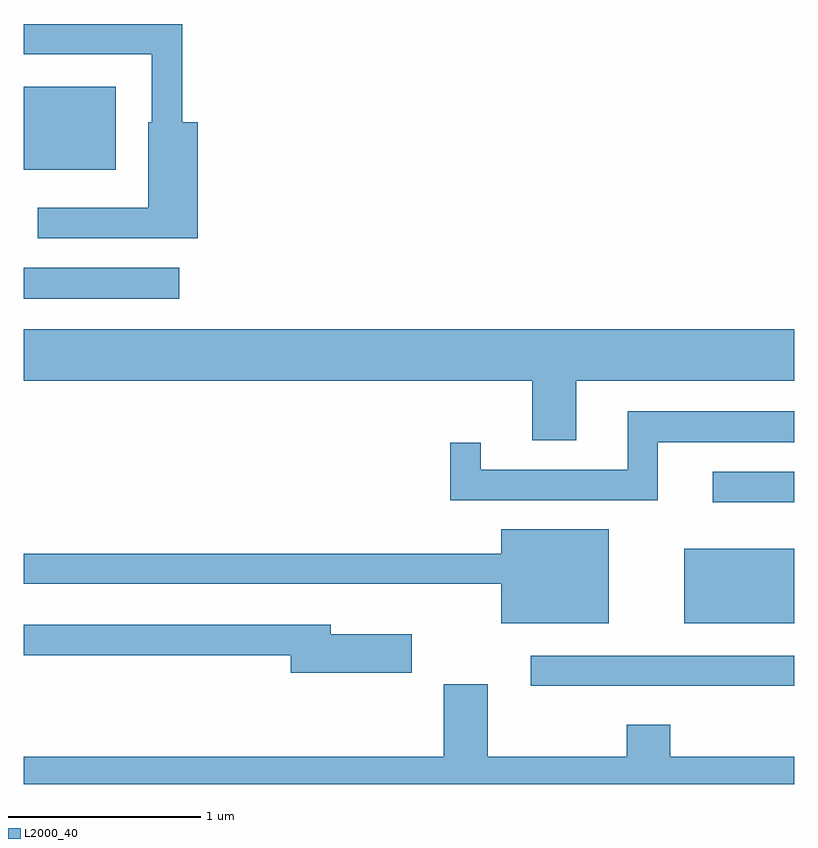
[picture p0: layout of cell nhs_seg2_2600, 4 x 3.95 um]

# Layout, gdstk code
import gdstk
lib = gdstk.Library(unit=1e-6, precision=1e-09)
def R(c, l, rs):  # rectangles x0, y0, x1, y1
    for r in rs: c.add(gdstk.rectangle(r[:2], r[2:], *l))
def P(c, l, *ps):  # polygons
    for p in ps: c.add(gdstk.Polygon(p, *l))
L2000_40 = (2000, 40)

nhs_seg2_2600 = lib.new_cell('nhs_seg2_2600')
R(nhs_seg2_2600, L2000_40, [(264.243,1022.311,265.611,1022.469), (265.041,1022.636,265.611,1023.024), (265.188,1023.266,265.611,1023.424), (261.611,1024.321,262.418,1024.484), (261.611,1024.991,262.089,1025.424)])
P(nhs_seg2_2600, L2000_40, [(262.514,1025.239),(262.434,1025.239),(262.434,1025.749),(261.611,1025.749),(261.611,1025.591),(262.276,1025.591),(262.276,1025.239),(262.256,1025.239),(262.256,1024.794),(261.683,1024.794),(261.683,1024.636),(262.514,1024.636)],
  [(264.479,1023.896),(265.611,1023.896),(265.611,1024.164),(261.611,1024.164),(261.611,1023.896),(264.251,1023.896),(264.251,1023.586),(264.479,1023.586)],
  [(264.904,1023.576),(265.611,1023.576),(265.611,1023.739),(264.746,1023.739),(264.746,1023.434),(263.984,1023.434),(263.984,1023.573),(263.826,1023.573),(263.826,1023.276),(264.904,1023.276)],
  [(264.649,1023.124),(264.091,1023.124),(264.091,1022.999),(261.611,1022.999),(261.611,1022.841),(264.091,1022.841),(264.091,1022.636),(264.649,1022.636)],
  [(263.624,1022.579),(263.204,1022.579),(263.204,1022.629),(261.611,1022.629),(261.611,1022.471),(262.996,1022.471),(262.996,1022.381),(263.624,1022.381)],
  [(265.611,1021.944),(264.969,1021.944),(264.969,1022.109),(264.741,1022.109),(264.741,1021.944),(264.019,1021.944),(264.019,1022.319),(263.791,1022.319),(263.791,1021.944),(261.611,1021.944),(261.611,1021.802),(265.611,1021.802)])

lib.write_gds('nhs_seg2_2600.gds')
